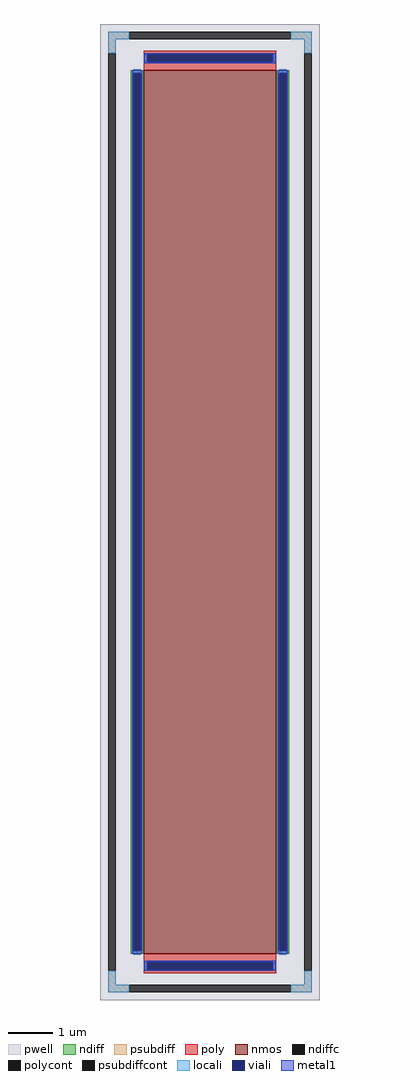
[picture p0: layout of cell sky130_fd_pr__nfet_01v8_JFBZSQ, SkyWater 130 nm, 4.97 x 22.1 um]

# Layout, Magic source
magic
tech sky130A
magscale 1 2
<< pwell >>
rect -497 -2210 497 2210
<< nmos >>
rect -301 -2000 301 2000
<< ndiff >>
rect -359 1988 -301 2000
rect -359 -1988 -347 1988
rect -313 -1988 -301 1988
rect -359 -2000 -301 -1988
rect 301 1988 359 2000
rect 301 -1988 313 1988
rect 347 -1988 359 1988
rect 301 -2000 359 -1988
<< ndiffc >>
rect -347 -1988 -313 1988
rect 313 -1988 347 1988
<< psubdiff >>
rect -461 2140 -365 2174
rect 365 2140 461 2174
rect -461 2078 -427 2140
rect 427 2078 461 2140
rect -461 -2140 -427 -2078
rect 427 -2140 461 -2078
rect -461 -2174 -365 -2140
rect 365 -2174 461 -2140
<< psubdiffcont >>
rect -365 2140 365 2174
rect -461 -2078 -427 2078
rect 427 -2078 461 2078
rect -365 -2174 365 -2140
<< poly >>
rect -301 2072 301 2088
rect -301 2038 -285 2072
rect 285 2038 301 2072
rect -301 2000 301 2038
rect -301 -2038 301 -2000
rect -301 -2072 -285 -2038
rect 285 -2072 301 -2038
rect -301 -2088 301 -2072
<< polycont >>
rect -285 2038 285 2072
rect -285 -2072 285 -2038
<< locali >>
rect -461 2140 -365 2174
rect 365 2140 461 2174
rect -461 2078 -427 2140
rect 427 2078 461 2140
rect -301 2038 -285 2072
rect 285 2038 301 2072
rect -347 1988 -313 2004
rect -347 -2004 -313 -1988
rect 313 1988 347 2004
rect 313 -2004 347 -1988
rect -301 -2072 -285 -2038
rect 285 -2072 301 -2038
rect -461 -2140 -427 -2078
rect 427 -2140 461 -2078
rect -461 -2174 -365 -2140
rect 365 -2174 461 -2140
<< viali >>
rect -285 2038 285 2072
rect -347 -1988 -313 1988
rect 313 -1988 347 1988
rect -285 -2072 285 -2038
<< metal1 >>
rect -297 2072 297 2078
rect -297 2038 -285 2072
rect 285 2038 297 2072
rect -297 2032 297 2038
rect -353 1988 -307 2000
rect -353 -1988 -347 1988
rect -313 -1988 -307 1988
rect -353 -2000 -307 -1988
rect 307 1988 353 2000
rect 307 -1988 313 1988
rect 347 -1988 353 1988
rect 307 -2000 353 -1988
rect -297 -2038 297 -2032
rect -297 -2072 -285 -2038
rect 285 -2072 297 -2038
rect -297 -2078 297 -2072
<< properties >>
string FIXED_BBOX -444 -2157 444 2157
string gencell sky130_fd_pr__nfet_01v8
string library sky130
string parameters w 20 l 3.005 m 1 nf 1 diffcov 100 polycov 100 guard 1 glc 1 grc 1 gtc 1 gbc 1 tbcov 100 rlcov 100 topc 1 botc 1 poverlap 0 doverlap 1 lmin 0.15 wmin 0.42 compatible {sky130_fd_pr__nfet_01v8 sky130_fd_pr__nfet_01v8_lvt  sky130_fd_bs_flash__special_sonosfet_star  sky130_fd_pr__nfet_g5v0d10v5 sky130_fd_pr__nfet_05v0_nvt  sky130_fd_pr__nfet_03v3_nvt} full_metal 1 viasrc 100 viadrn 100 viagate 100 viagb 0 viagr 0 viagl 0 viagt 0
<< end >>
